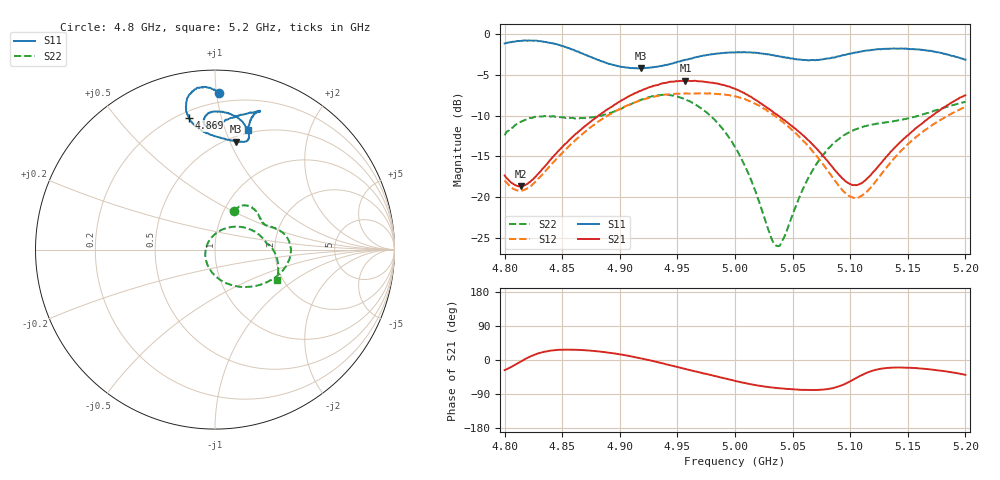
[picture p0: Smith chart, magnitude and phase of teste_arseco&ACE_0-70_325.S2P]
! Network Analyzer HP8722D
! Hewlett-Packard
! Data name: Linha & Wilkinson
! Saver's name: Rodrigo Anjos
! Comments: Teste da utilização de aquisição
! continua pelo VNA HP8722D
! Time and date: 8/5/2025 15:28
!  Frequency  S11  S21  S12  S22
# HZ  S  MA R 50
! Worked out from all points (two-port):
!   401 points, 4.8 GHz to 5.2 GHz, reference 50 ohm
!   highest |S21| = -5.74 dB at 4.957 GHz (marker M1); lowest = -18.7 dB at 4.814 GHz (marker M2)
!   |S21| within 3 dB of the highest: 4.895 GHz to 5.025 GHz (129.9 MHz wide, 2.62 % of centre); 5.184342 GHz to end of sweep
!   lowest |S11| = -4.2 dB at 4.918 GHz (marker M3), VSWR 4.18, Z = 27.4 + j52.8 ohm
!   |S11| at or under -10 dB: nowhere
!   |S22| runs from -26.0 to -7.5 dB; largest |S21 - S12| = 0.89
!   S11 on the Smith chart (normalised r, x): 4.8 GHz: 0.14, +1.02; 4.869 GHz: 0.24, +0.79; 5.2 GHz: 0.47, +1.20
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4.8e9  0.8723 88.5  0.1361 -26.6  0.1267 100.9  0.2395 63.7
4.814e9  0.9032 92.5  0.1168 -4.2  0.1099 120.5  0.2891 57.9
4.845e9  0.8611 100.1  0.1862 26.2  0.172 150.1  0.3112 39.5
4.867e9  0.7568 101.4  0.2623 26.1  0.2417 153.2  0.3049 29.9
4.869e9  0.7481 101.2  0.2697 25.8  0.2488 153.2  0.3055 29.7
4.896e9  0.6389 91.9  0.3701 17.1  0.3351 147.2  0.3377 22.2
4.918e9  0.6136 78.9  0.4468 4.3  0.3905 138.0  0.3933 13.3
4.934e9  0.6323 73.6  0.489 -6.7  0.4186 129.1  0.421 2.6
4.957e9  0.692 74.8  0.5166 -23.7  0.431 114.5  0.3975 -16.9
4.981e9  0.7494 81.0  0.5003 -41.3  0.4285 99.4  0.3037 -41.7
5e9  0.7698 87.3  0.4607 -55.0  0.4145 86.1  0.2026 -69.5
5.019e9  0.7626 92.3  0.3899 -66.9  0.369 73.1  0.1024 -111.2
5.031e9  0.7422 94.2  0.341 -72.0  0.3279 66.4  0.05772 -158.5
5.037e9  0.7313 94.7  0.3177 -74.1  0.3064 63.9  0.05035 162.7
5.043e9  0.7174 94.9  0.296 -75.8  0.2828 61.6  0.05779 126.4
5.067e9  0.6909 92.6  0.2122 -79.2  0.1931 57.8  0.1445 58.2
5.083e9  0.7095 87.6  0.1581 -75.3  0.1379 63.2  0.2051 36.9
5.103e9  0.765 79.3  0.1188 -51.3  0.09935 91.0  0.2577 19.4
5.114e9  0.7874 75.3  0.1289 -34.2  0.1077 110.5  0.2731 13.4
5.134e9  0.8097 72.2  0.185 -20.6  0.16 125.8  0.2891 7.3
5.169e9  0.7858 73.9  0.3076 -24.6  0.2699 120.7  0.3306 -2.1
5.2e9  0.694 74.5  0.42 -39.1  0.3574 108.7  0.3828 -25.9
